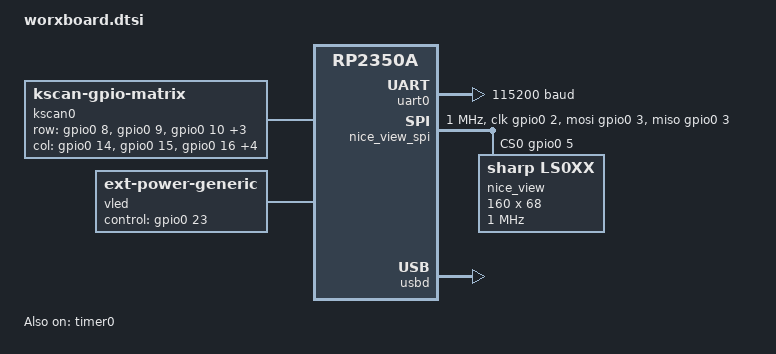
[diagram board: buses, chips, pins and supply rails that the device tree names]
/* SPDX-License-Identifier: MIT */
/dts-v1/;

#include <raspberrypi/rpi_pico/rp2350a.dtsi>
#include <raspberrypi/rpi_pico/m33.dtsi>
#include <arm/raspberrypi/rp2350-boot-mode-retention.dtsi>
#include <freq.h>
#include <zephyr/dt-bindings/led/led.h>

#include "worxboard-pinctrl.dtsi"
#include "../worxboard/worxboard-layouts.dtsi"   /* shared, generated */

/ {
    chosen {
        zephyr,sram = &sram0;
        zephyr,flash = &flash0;
        zephyr,flash-controller = &qmi;
        zephyr,code-partition = &code_partition;
        zmk,kscan = &kscan0;
        zmk,physical-layout = &worxboard_layout;
        zephyr,display = &nice_view;
        zmk,underglow = &led_strip;
    };

    /* Matrix 6 x 7 col2row (design.md §3/§5). COLn = physical column Cn, C0 outer, on both
     * PCBs; the right .dts reverses col-gpios so its logical order runs inner -> outer. */
    kscan0: kscan {
        compatible = "zmk,kscan-gpio-matrix";
        wakeup-source;
        diode-direction = "col2row";
        row-gpios
            = <&gpio0 8  (GPIO_ACTIVE_HIGH | GPIO_PULL_DOWN)>
            , <&gpio0 9  (GPIO_ACTIVE_HIGH | GPIO_PULL_DOWN)>
            , <&gpio0 10 (GPIO_ACTIVE_HIGH | GPIO_PULL_DOWN)>
            , <&gpio0 11 (GPIO_ACTIVE_HIGH | GPIO_PULL_DOWN)>
            , <&gpio0 12 (GPIO_ACTIVE_HIGH | GPIO_PULL_DOWN)>
            , <&gpio0 13 (GPIO_ACTIVE_HIGH | GPIO_PULL_DOWN)>
            ;
        col-gpios
            = <&gpio0 14 GPIO_ACTIVE_HIGH>
            , <&gpio0 15 GPIO_ACTIVE_HIGH>
            , <&gpio0 16 GPIO_ACTIVE_HIGH>
            , <&gpio0 17 GPIO_ACTIVE_HIGH>
            , <&gpio0 18 GPIO_ACTIVE_HIGH>
            , <&gpio0 19 GPIO_ACTIVE_HIGH>
            , <&gpio0 20 GPIO_ACTIVE_HIGH>
            ;
    };

    wired_split {
        compatible = "zmk,wired-split";
        device = <&uart0>;
    };

    /* VLED: GP23 = RGB_EN drives U6 SY6280AAC EN (VSYS -> VLED, active high, 10k pull-down).
     * ZMK turns it on at boot and off with the underglow (CONFIG_ZMK_RGB_UNDERGLOW_EXT_POWER). */
    vled: vled {
        compatible = "zmk,ext-power-generic";
        control-gpios = <&gpio0 23 GPIO_ACTIVE_HIGH>;
    };
};

&flash0 {
    reg = <0x10000000 DT_SIZE_M(4)>;

    partitions {
        compatible = "fixed-partitions";
        #address-cells = <1>;
        #size-cells = <1>;

        image_def: partition@0 {
            reg = <0x00000000 0x100>;
            read-only;
        };

        code_partition: partition@100 {
            reg = <0x100 (DT_SIZE_M(4) - 0x100 - DT_SIZE_K(512))>;
            read-only;
        };

        storage_partition: partition@380000 {
            reg = <0x380000 DT_SIZE_K(512)>;
        };
    };
};

&uart0 {
    status = "okay";
    current-speed = <115200>;
    pinctrl-0 = <&uart0_default>;
    pinctrl-names = "default";
};

/* Per-key RGB (rev B): one chain of 37 SK6812MINI-E per half, LED101 = layout/leds.py CHAIN[0].
 * PIO0 belongs to the strip alone: the driver loads its 4-instruction program with origin -1 and
 * starts the state machine at instruction 31, which is its own only in an otherwise empty PIO. */
&pio0 {
    status = "okay";

    pio0_ws2812: pio0_ws2812 {
        compatible = "worldsemi,ws2812-rpi_pico-pio";
        status = "okay";
        pinctrl-0 = <&pio0_ws2812_default>;
        pinctrl-names = "default";
        /* 10 PIO cycles per bit at 800 kHz: T0H 375 ns, T1H 750 ns (as Zephyr's RP2040 boards) */
        bit-waveform = <3>, <3>, <4>;

        led_strip: ws2812 {
            status = "okay";
            gpios = <&gpio0 22 GPIO_ACTIVE_HIGH>;  /* pin number only; the mux is pinctrl-0 */
            chain-length = <37>;
            color-mapping = <LED_COLOR_ID_GREEN LED_COLOR_ID_RED LED_COLOR_ID_BLUE>;
            reset-delay = <500>;                   /* us; > 200 us low between frames: the driver starts this
                                                      sleep when the last word is queued, up to ~270 us before it is sent */
            frequency = <800000>;
        };
    };
};

&pio1 {
    status = "okay";

    nice_view_spi: nice_view_spi {
        compatible = "raspberrypi,pico-spi-pio";
        status = "okay";
        #address-cells = <1>;
        #size-cells = <0>;
        clocks = <&clocks RPI_PICO_CLKID_CLK_SYS>;
        clock-frequency = <DT_FREQ_M(1)>;
        pinctrl-0 = <&pio1_spi_default>;
        pinctrl-names = "default";
        clk-gpios = <&gpio0 2 GPIO_ACTIVE_HIGH>;
        mosi-gpios = <&gpio0 3 GPIO_ACTIVE_HIGH>;
        /* The driver claims miso-gpios for PIO1 in 4-wire mode even when unset (pin 0 =
         * UART0 TX). Reusing MOSI keeps it off the split link (deviations REVIEW-FIX-1). */
        miso-gpios = <&gpio0 3 GPIO_ACTIVE_HIGH>;
        cs-gpios = <&gpio0 5 GPIO_ACTIVE_HIGH>;

        nice_view: ls0xx@0 {
            compatible = "sharp,ls0xx";
            reg = <0>;
            spi-max-frequency = <DT_FREQ_M(1)>;
            width = <160>;
            height = <68>;
            serial-vcom-inversion;
            serial-vcom-interval = <33>;
        };
    };
};

&timer0 {
    status = "okay";
};

&gpio0 {
    status = "okay";
};

zephyr_udc0: &usbd {
    status = "okay";
};
